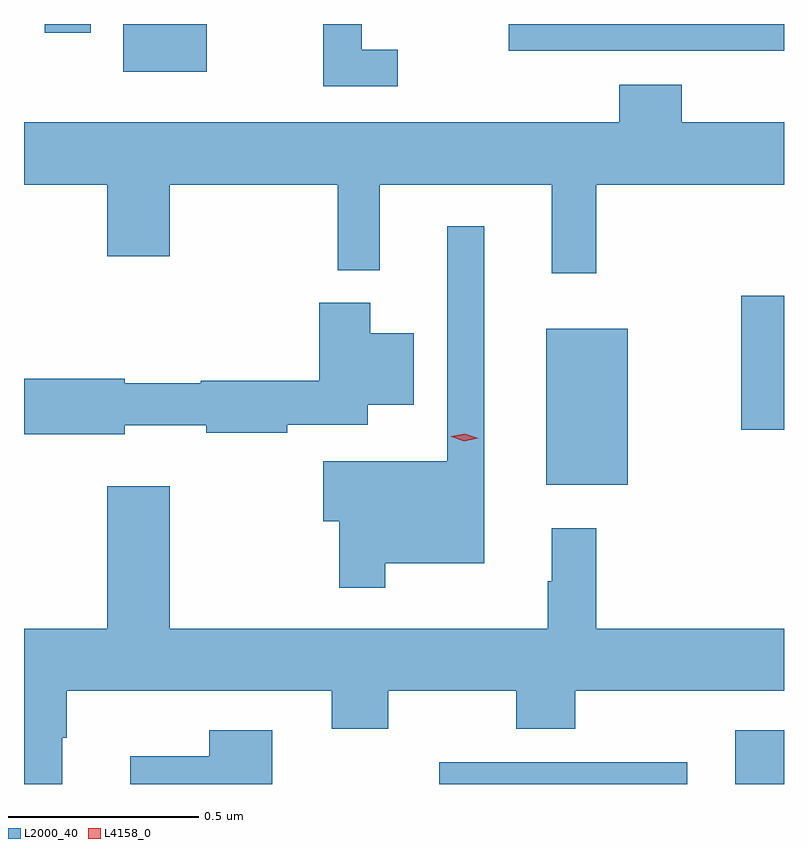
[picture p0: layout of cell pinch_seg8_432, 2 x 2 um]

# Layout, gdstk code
import gdstk
lib = gdstk.Library(unit=1e-6, precision=1e-09)
def R(c, l, rs):  # rectangles x0, y0, x1, y1
    for r in rs: c.add(gdstk.rectangle(r[:2], r[2:], *l))
def P(c, l, *ps):  # polygons
    for p in ps: c.add(gdstk.Polygon(p, *l))
L2000_40 = (2000, 40)
L4158_0 = (4158, 0)

pinch_seg8_432 = lib.new_cell('pinch_seg8_432')
R(pinch_seg8_432, L2000_40, [(261.786,1140.231,262.438,1140.288), (262.565,1140.231,262.693,1140.373), (262.067,1141.019,262.282,1141.429), (262.58,1141.163,262.693,1141.516), (260.954,1142.105,261.174,1142.231), (261.969,1142.16,262.693,1142.231), (260.747,1142.208,260.869,1142.231)])
P(pinch_seg8_432, L2000_40, [(261.676,1142.163),(261.582,1142.163),(261.582,1142.231),(261.481,1142.231),(261.481,1142.067),(261.676,1142.067)],
  [(262.199,1141.808),(262.693,1141.808),(262.693,1141.972),(262.424,1141.972),(262.424,1142.071),(262.259,1142.071),(262.259,1141.972),(260.693,1141.972),(260.693,1141.808),(260.912,1141.808),(260.912,1141.62),(261.076,1141.62),(261.076,1141.808),(261.519,1141.808),(261.519,1141.583),(261.629,1141.583),(261.629,1141.808),(262.082,1141.808),(262.082,1141.575),(262.199,1141.575)],
  [(261.643,1140.812),(261.904,1140.812),(261.904,1141.699),(261.807,1141.699),(261.807,1141.081),(261.48,1141.081),(261.48,1140.923),(261.522,1140.923),(261.522,1140.747),(261.643,1140.747)],
  [(260.958,1141.175),(261.172,1141.175),(261.172,1141.156),(261.386,1141.156),(261.386,1141.176),(261.598,1141.176),(261.598,1141.229),(261.718,1141.229),(261.718,1141.417),(261.604,1141.417),(261.604,1141.498),(261.47,1141.498),(261.47,1141.292),(261.158,1141.292),(261.158,1141.285),(260.958,1141.285),(260.958,1141.298),(260.693,1141.298),(260.693,1141.151),(260.958,1141.151)],
  [(260.794,1140.353),(260.806,1140.353),(260.806,1140.476),(261.503,1140.476),(261.503,1140.377),(261.651,1140.377),(261.651,1140.476),(261.988,1140.476),(261.988,1140.377),(262.143,1140.377),(262.143,1140.476),(262.693,1140.476),(262.693,1140.64),(262.199,1140.64),(262.199,1140.904),(262.082,1140.904),(262.082,1140.764),(262.071,1140.764),(262.071,1140.64),(261.076,1140.64),(261.076,1141.015),(260.912,1141.015),(260.912,1140.64),(260.693,1140.64),(260.693,1140.231),(260.794,1140.231)],
  [(261.346,1140.373),(261.181,1140.373),(261.181,1140.304),(260.972,1140.304),(260.972,1140.231),(261.346,1140.231)])
P(pinch_seg8_432, L4158_0, [(261.852,1141.133),(261.817,1141.145),(261.817,1141.145),(261.817,1141.146),(261.853,1141.153),(261.888,1141.141),(261.888,1141.141),(261.888,1141.141)])

lib.write_gds('pinch_seg8_432.gds')
